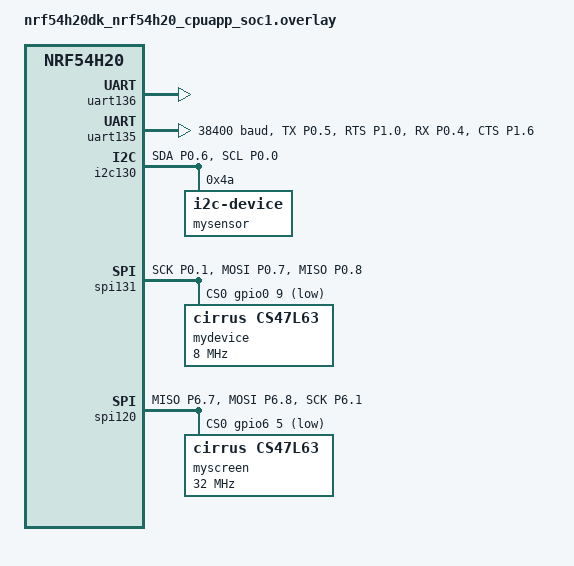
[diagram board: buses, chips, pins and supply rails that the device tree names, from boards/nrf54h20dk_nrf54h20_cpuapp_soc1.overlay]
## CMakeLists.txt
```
# SPDX-License-Identifier: Apache-2.0

cmake_minimum_required(VERSION 3.20.0)

find_package(Zephyr REQUIRED HINTS $ENV{ZEPHYR_BASE})
project(echo_bot_1)

target_sources(app PRIVATE src/main.c)
```

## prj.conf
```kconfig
CONFIG_SERIAL=y
CONFIG_UART_INTERRUPT_DRIVEN=y
CONFIG_I2C=y
CONFIG_SPI=y

CONFIG_NRFX_SPIM120=y
CONFIG_NRFX_SPIM131=y
#CONFIG_SPI_COMPLETION_TIMEOUT_TOLERANCE=500
#CONFIG_SPI_NRFX_RAM_BUFFER_SIZE=254

CONFIG_NRF_REGTOOL_VERBOSE_DBG=y
CONFIG_NRF_REGTOOL_GENERATE_TOML_CONFIG=y

CONFIG_NRF_REGTOOL_TOML_CONFIG_FILES="ctrlsel.toml"
```

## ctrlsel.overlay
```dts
/*
 * Copyright (c) 2023 Nordic Semiconductor ASA
 *
 * SPDX-License-Identifier: LicenseRef-Nordic-5-Clause
 */

&{/uicr} {
	mapped-instance-indexing;
};
```

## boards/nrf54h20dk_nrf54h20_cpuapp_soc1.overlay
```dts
/*
 * Copyright (c) 2023 Nordic Semiconductor ASA
 *
 * SPDX-License-Identifier: Apache-2.0
 */

/{
	chosen {
		zephyr,shell_uart = &uart136;
	};
};

&uart136 {
	status = "okay";
	memory-regions = <&ram3x_cpuapp>;
};

&ram3x_cpuapp {
	status = "okay";
};

&ram3x_dma_region {
	compatible = "nordic,allocatable-ram";
	perm-read;
	perm-write;
};

&uart135 {
	status = "okay";
	current-speed = <38400>;
	memory-regions = <&ram3x_cpuapp>;
	pinctrl-0 = <&uart135_default>;
	pinctrl-1 = <&uart135_sleep>;
	pinctrl-names = "default", "sleep";
};

&pinctrl {
	uart135_default: uart135_default {
		group1 {
			psels = <NRF_PSEL(UART_TX, 0, 5)>,
				<NRF_PSEL(UART_RTS, 1, 0)>;
		};
		group2 {
			psels = <NRF_PSEL(UART_RX, 0, 4)>,
				<NRF_PSEL(UART_CTS, 1, 6)>;
			bias-pull-up;
		};
	};

	uart135_sleep: uart135_sleep {
		group1 {
			psels = <NRF_PSEL(UART_TX, 0, 5)>,
				<NRF_PSEL(UART_RX, 0, 4)>,
				<NRF_PSEL(UART_RTS, 1, 0)>,
				<NRF_PSEL(UART_CTS, 1, 6)>;
			low-power-enable;
		};
	};

	uart136_default: uart136_default {
		group1 {
			psels = <NRF_PSEL(UART_TX, 2, 4)>,
				<NRF_PSEL(UART_RTS, 2, 0)>;
		};
		group2 {
			psels = <NRF_PSEL(UART_RX, 2, 5)>,
				<NRF_PSEL(UART_CTS, 2, 6)>;
			bias-pull-up;
		};
	};

	uart136_sleep: uart136_sleep {
		group1 {
			psels = <NRF_PSEL(UART_TX, 2, 4)>,
				<NRF_PSEL(UART_RX, 2, 5)>,
				<NRF_PSEL(UART_RTS, 2, 0)>,
				<NRF_PSEL(UART_CTS, 2, 6)>;
			low-power-enable;
		};
	};

	i2c130_default: i2c130_default {
		group1 {
			psels = <NRF_PSEL(TWIM_SDA, 0, 6)>,
				<NRF_PSEL(TWIM_SCL, 0, 0)>;
		};
	};

	i2c130_sleep: i2c130_sleep {
		group1 {
			psels = <NRF_PSEL(TWIM_SDA, 0, 6)>,
				<NRF_PSEL(TWIM_SCL, 0, 0)>;
			low-power-enable;
		};
	};

	spi131_default: spi131_default {
		group1 {
			psels = <NRF_PSEL(SPIM_SCK, 0, 1)>,
				<NRF_PSEL(SPIM_MOSI, 0, 7)>,
				<NRF_PSEL(SPIM_MISO, 0, 8)>;
		};
	};

	spi131_sleep: spi131_sleep {
		group1 {
			psels = <NRF_PSEL(SPIM_SCK, 0, 1)>,
				<NRF_PSEL(SPIM_MOSI, 0, 7)>,
				<NRF_PSEL(SPIM_MISO, 0, 8)>;
			low-power-enable;
		};
	};

	spi120_default: spi120_default {
		group1 {
			psels = <NRF_PSEL(SPIM_MISO, 6, 7)>,
					<NRF_PSEL(SPIM_MOSI, 6, 8)>,
					<NRF_PSEL(SPIM_SCK, 6, 1)>;
		};
	};
};
&i2c130 {
	status = "okay";
	pinctrl-0 = <&i2c130_default>;
	pinctrl-1 = <&i2c130_sleep>;
	pinctrl-names = "default", "sleep";

	mysensor: mysensor@4a{
        compatible = "i2c-device";
        status = "okay";
        reg = < 0x4a >;
    };
};

&spi131 {
	status = "okay";
	pinctrl-0 = <&spi131_default>;
	pinctrl-1 = <&spi131_sleep>;
	pinctrl-names = "default", "sleep";
	cs-gpios = <&gpio0 9 GPIO_ACTIVE_LOW>;
	memory-regions = <&ram3x_cpuapp>;

	mydevice: mydevice@0{
        compatible = "cirrus,cs47l63";
		spi-max-frequency = < 0x7a1200 >;
        status = "okay";
        reg = < 0x00 >;
    };
};

&spi120 {
	status = "okay";
	pinctrl-0 = <&spi120_default>;
	pinctrl-names = "default";
	cs-gpios = <&gpio6 5 GPIO_ACTIVE_LOW>;
	memory-regions = <&ram3x_cpuapp>;

	myscreen: myscreen@0{
        compatible = "cirrus,cs47l63";
		spi-max-frequency = < 0x1e84800 >;
        status = "okay";
        reg = < 0x00 >;
    };
};

&gpio0 {
	status = "okay";
};

&gpio6 {
	status = "okay";
};
```

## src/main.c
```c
/*
 * Copyright (c) 2022 Libre Solar Technologies GmbH
 *
 * SPDX-License-Identifier: Apache-2.0
 */

#include <zephyr/kernel.h>
#include <zephyr/device.h>
#include <zephyr/drivers/uart.h>

#include <string.h>

#include <zephyr/drivers/i2c.h>
#include <zephyr/drivers/spi.h>

/* change this to any other UART peripheral if desired */
#define UART_DEVICE_NODE DT_CHOSEN(zephyr_shell_uart)

#define MSG_SIZE 32

/* queue to store up to 10 messages (aligned to 4-byte boundary) */
K_MSGQ_DEFINE(uart_msgq, MSG_SIZE, 10, 4);

static const struct device *const uart_dev = DEVICE_DT_GET(UART_DEVICE_NODE);
static const struct device *const uart_dev_135 = DEVICE_DT_GET(DT_NODELABEL(uart135));

//static const struct device *const i2c_dev_130 = DEVICE_DT_GET(DT_NODELABEL(i2c130));
#define I2C_NODE DT_NODELABEL(mysensor)
static const struct i2c_dt_spec i2c_dev_130 = I2C_DT_SPEC_GET(I2C_NODE);

#define SPI_NODE DT_NODELABEL(mydevice)
#define SPI_SCREEN_NODE DT_NODELABEL(myscreen)

#define SPI_OP SPI_OP_MODE_MASTER | SPI_TRANSFER_MSB | SPI_WORD_SET(8) | SPI_LINES_SINGLE

static const struct spi_dt_spec spi_dev_131 = SPI_DT_SPEC_GET(SPI_NODE, SPI_OP, 0);
static const struct spi_dt_spec spi_dev_120 = SPI_DT_SPEC_GET(SPI_SCREEN_NODE, SPI_OP, 0);

static struct k_mutex mydevice_oper_mutex;
static struct k_mutex myscreen_oper_mutex;

static int spi_mutex_lock(void)
{
	int ret;

	ret = k_mutex_lock(&mydevice_oper_mutex, K_FOREVER);
	if (ret) {
		//LOG_ERR("Failed to lock mutex: %d", ret);
		return ret;
	}

	/* If operation mode set to HOLD or the SPI_LOCK_ON is set when
	 * taking the mutex something is wrong
	 */
	if ((spi_dev_131.config.operation & SPI_HOLD_ON_CS) || (spi_dev_131.config.operation & SPI_LOCK_ON)) {
		//LOG_ERR("SPI_HOLD_ON_CS and SPI_LOCK_ON must be freed before releasing mutex");
		return -EPERM;
	}

	return 0;
}

/* Unlocks mutex and CS pin */
static int spi_mutex_unlock(void)
{
	int ret;
	/* If operation mode still set to HOLD or
	 * the SPI_LOCK_ON is still set when releasing the mutex
	 * something is wrong
	 */
	if ((spi_dev_131.config.operation & SPI_HOLD_ON_CS) || (spi_dev_131.config.operation & SPI_LOCK_ON)) {
		//LOG_ERR("SPI_HOLD_ON_CS and SPI_LOCK_ON must be freed before releasing mutex");
		return -EPERM;
	}

	ret = k_mutex_unlock(&mydevice_oper_mutex);
	if (ret) {
		//LOG_ERR("Failed to unlock mutex: %d", ret);
		return ret;
	}

	return 0;
}

static int spi_120_mutex_lock(void)
{
	int ret;

	ret = k_mutex_lock(&myscreen_oper_mutex, K_FOREVER);
	if (ret) {
		//LOG_ERR("Failed to lock mutex: %d", ret);
		return ret;
	}

	/* If operation mode set to HOLD or the SPI_LOCK_ON is set when
	 * taking the mutex something is wrong
	 */
	if ((spi_dev_120.config.operation & SPI_HOLD_ON_CS) || (spi_dev_120.config.operation & SPI_LOCK_ON)) {
		//LOG_ERR("SPI_HOLD_ON_CS and SPI_LOCK_ON must be freed before releasing mutex");
		return -EPERM;
	}

	return 0;
}

/* Unlocks mutex and CS pin */
static int spi_120_mutex_unlock(void)
{
	int ret;
	/* If operation mode still set to HOLD or
	 * the SPI_LOCK_ON is still set when releasing the mutex
	 * something is wrong
	 */
	if ((spi_dev_120.config.operation & SPI_HOLD_ON_CS) || (spi_dev_120.config.operation & SPI_LOCK_ON)) {
		//LOG_ERR("SPI_HOLD_ON_CS and SPI_LOCK_ON must be freed before releasing mutex");
		return -EPERM;
	}

	ret = k_mutex_unlock(&myscreen_oper_mutex);
	if (ret) {
		//LOG_ERR("Failed to unlock mutex: %d", ret);
		return ret;
	}

	return 0;
}

/* receive buffer used in UART ISR callback */
static char rx_buf[MSG_SIZE];
static int rx_buf_pos;

/*
 * Read characters from UART until line end is detected. Afterwards push the
 * data to the message queue.
 */
void serial_cb(const struct device *dev, void *user_data)
{
	uint8_t c;

	if (!uart_irq_update(uart_dev_135)) {
		return;
	}

	if (!uart_irq_rx_ready(uart_dev_135)) {
		return;
	}

	/* read until FIFO empty */
	while (uart_fifo_read(uart_dev_135, &c, 1) == 1) {
		if ((c == '\n' || c == '\r') && rx_buf_pos > 0) {
			/* terminate string */
			rx_buf[rx_buf_pos] = '\0';

			/* if queue is full, message is silently dropped */
			k_msgq_put(&uart_msgq, &rx_buf, K_NO_WAIT);

			/* reset the buffer (it was copied to the msgq) */
			rx_buf_pos = 0;
		} else if (rx_buf_pos < (sizeof(rx_buf) - 1)) {
			rx_buf[rx_buf_pos++] = c;
		}
		/* else: characters beyond buffer size are dropped */
	}
}

/*
 * Print a null-terminated string character by character to the UART interface
 */
void print_uart(char *buf)
{
	int msg_len = strlen(buf);

	for (int i = 0; i < msg_len; i++) {
		uart_poll_out(uart_dev, buf[i]);
	}
}

void print_uart_135(char *buf)
{
	int msg_len = strlen(buf);

	for (int i = 0; i < msg_len; i++) {
		uart_poll_out(uart_dev_135, buf[i]);
	}
}

int main(void)
{
	char tx_buf[MSG_SIZE];

	printk("Welcome to the test system!");

	if (!device_is_ready(uart_dev)) {
		printk("UART device not found!");
		return 0;
	}

	if (!device_is_ready(uart_dev_135)) {
		printk("UART device not found!");
		return 0;
	}
	else {
		print_uart("UART 135 device found!\r\n");
	}

	//static const struct i2c_dt_spec i2c_dev_130 = I2C_DT_SPEC_GET(I2C_NODE);
	if (!device_is_ready(i2c_dev_130.bus)) {
		print_uart("I2C 130 device not found!");
		//return 0;
	}
	else {
		print_uart("I2C 130 device found!\r\n");
	}


	if (!device_is_ready(spi_dev_131.bus)) {
		print_uart("SPI 131 device not found!");
		//return 0;
	}
	else {
		print_uart("SPI 131 device found!\r\n");
	}

	if (!device_is_ready(spi_dev_120.bus)) {
		print_uart("SPI 120 device not found!");
		//return 0;
	}
	else {
		print_uart("SPI 120 device found!\r\n");
	}

	/* configure interrupt and callback to receive data */
	int ret = uart_irq_callback_user_data_set(uart_dev_135, serial_cb, NULL);

	if (ret < 0) {
		if (ret == -ENOTSUP) {
			printk("Interrupt-driven UART API support not enabled\n");
		} else if (ret == -ENOSYS) {
			printk("UART device does not support interrupt-driven API\n");
		} else {
			printk("Error setting UART callback: %d\n", ret);
		}
		return 0;
	}
	uart_irq_rx_enable(uart_dev_135);

	print_uart("Hello! I'm your echo bot.\r\n");
	print_uart("Tell me something and press enter:\r\n");
	print_uart_135("Hello! I'm your nRF54 UART test device.\r\n");
	print_uart_135("Input something and press enter:\r\n");

	uint8_t config[2] = {0x03,0x8C};

	//ret = i2c_write_dt(&i2c_dev_130, config, sizeof(config));
	//if(ret != 0){
	//	print_uart("Failed to write to I2C device. \n");
	//	//return -1;
	//}

	uint8_t write_buffer[4] = {0x03,0x8C,0x03,0x8C};
	uint8_t pad_buffer[4] = { 0 };
	uint8_t data_buffer[4] = { 0 };
	struct spi_buf_set spi_tx;
	struct spi_buf spi_tx_buf[] = { { .buf = write_buffer, .len = 4 },
				    			{ .buf = pad_buffer, .len = 4 },
				    			{ .buf = data_buffer, .len = 4 } };

	spi_tx.buffers = spi_tx_buf;
	spi_tx.count = ARRAY_SIZE(spi_tx_buf);

	//ret = spi_mutex_lock();
	//if (ret) {
	//	print_uart("Failed to write to SPI 130 device.BSP_STATUS_FAIL. \n");
	//}
//
	//ret = spi_write_dt(&spi_dev_131, &spi_tx);
	//if(ret != 0){
	//	print_uart("Failed to write to SPI 130 device. \n");
	//	//return -1;
	//}
//
	//ret = spi_mutex_unlock();
	//if (ret) {
	//	print_uart("Failed to write to SPI 130 device.BSP_STATUS_FAIL. \n");
	//}

	ret = spi_120_mutex_lock();
	if (ret) {
		print_uart("Failed to write to SPI 120 device.BSP_STATUS_FAIL. \n");
	}

	ret = spi_write_dt(&spi_dev_120, &spi_tx);
	if(ret != 0){
		print_uart("Failed to write to SPI 120 device. \n");
		//return -1;
	}

	ret = spi_120_mutex_unlock();
	if (ret) {
		print_uart("Failed to write to SPI 120 device.BSP_STATUS_FAIL. \n");
	}

	/* indefinitely wait for input from the user */
	while (k_msgq_get(&uart_msgq, &tx_buf, K_FOREVER) == 0) {
		print_uart_135("Echo: ");
		print_uart_135(tx_buf);
		print_uart_135("\r\n");
	}
	return 0;
}
```
